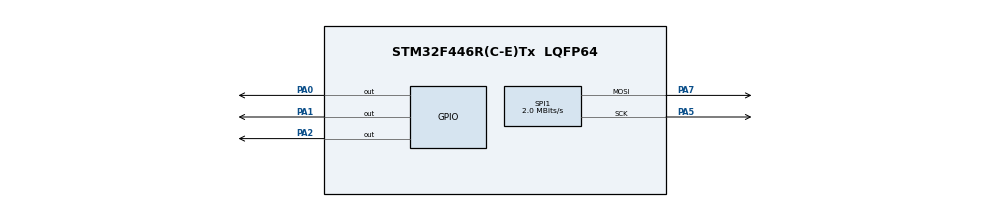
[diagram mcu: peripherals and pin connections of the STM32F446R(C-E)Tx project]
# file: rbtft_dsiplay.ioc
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Mcu.Family=STM32F4
Mcu.Name=STM32F446R(C-E)Tx
Mcu.Package=LQFP64
NVIC.PriorityGroup=NVIC_PRIORITYGROUP_4
PA0-WKUP.GPIO_PuPd=GPIO_PULLUP
PA0-WKUP.Signal=GPIO_Output
PA1.GPIO_PuPd=GPIO_PULLUP
PA1.Signal=GPIO_Output
PA2.GPIO_PuPd=GPIO_PULLUP
PA2.Signal=GPIO_Output
PA5.Mode=TX_Only_Simplex_Unidirect_Master
PA5.Signal=SPI1_SCK
PA7.Mode=TX_Only_Simplex_Unidirect_Master
PA7.Signal=SPI1_MOSI
ProjectManager.HeapSize=0x200
ProjectManager.StackSize=0x400
ProjectManager.TargetToolchain=STM32CubeIDE
RCC.CortexFreq_Value=16000000
RCC.USBFreq_Value=96000000
RCC.VCOOutputFreq_Value=192000000
SPI1.BaudRatePrescaler=SPI_BAUDRATEPRESCALER_8
SPI1.CalculateBaudRate=2.0 MBits/s
SPI1.Direction=SPI_DIRECTION_2LINES
SPI1.Mode=SPI_MODE_MASTER
SPI1.VirtualType=VM_MASTER
board=custom

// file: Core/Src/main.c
/* USER CODE BEGIN Header */
/**
  ******************************************************************************
  * @file           : main.c
  * @brief          : Main program body
  ******************************************************************************
  * @attention
  *
  * Copyright (c) 2025 STMicroelectronics.
  * All rights reserved.
  *
  * This software is licensed under terms that can be found in the LICENSE file
  * in the root directory of this software component.
  * If no LICENSE file comes with this software, it is provided AS-IS.
  *
  ******************************************************************************
  */
/* USER CODE END Header */
#include "main.h"

/* USER CODE BEGIN Includes */
#include "st7735.h"
/* USER CODE END Includes */

/* USER CODE BEGIN PM */
#define width 132
#define height 162
/* USER CODE END PM */

SPI_HandleTypeDef hspi1;

void SystemClock_Config(void);
static void MX_GPIO_Init(void);
static void MX_SPI1_Init(void);

/* USER CODE BEGIN 0 */
void define_window(SPI_HandleTypeDef *hspi) {
	send_command(hspi, 0x2A); //column address set CASET
	send_data(hspi, 0x00);
	send_data(hspi, 0x00);
	send_data(hspi, 0x81);
	send_data(hspi, 0x81);

	send_command(hspi, 0x2B); //row address set RASET
	send_data(hspi, 0x00);
	send_data(hspi, 0x00);
	send_data(hspi, 0xA0);
	send_data(hspi, 0xA0);
}

void display(SPI_HandleTypeDef *hspi) {
	uint16_t color = 0xF800;
	send_command(hspi, 0x2C); //RAMWR

	for (int h = 0; h < height; h++) {
		for (int w = 0; w < width; w++) { // RGB 5-6-5
			send_data(hspi, (color >> 8) & 0xFF); // RED5 GREEN3
			send_data(hspi, color & 0xFF); // GREEN3 BLUE5
		}
	}
}
/* USER CODE END 0 */

int main(void)
{

  /* MCU Configuration--------------------------------------------------------*/

  /* Reset of all peripherals, Initializes the Flash interface and the Systick. */
  HAL_Init();

  /* Configure the system clock */
  SystemClock_Config();

  /* Initialize all configured peripherals */
  MX_GPIO_Init();
  MX_SPI1_Init();
  /* USER CODE BEGIN 2 */
  //reset_display();
  init_display(&hspi1);
  define_window(&hspi1);
  display(&hspi1);

  /* USER CODE END 2 */

  /* Infinite loop */
  while (1)
  {

  }
}

void SystemClock_Config(void)
{
  RCC_OscInitTypeDef RCC_OscInitStruct = {0};
  RCC_ClkInitTypeDef RCC_ClkInitStruct = {0};

  /** Configure the main internal regulator output voltage
  */
  __HAL_RCC_PWR_CLK_ENABLE();
  __HAL_PWR_VOLTAGESCALING_CONFIG(PWR_REGULATOR_VOLTAGE_SCALE3);

  /** Initializes the RCC Oscillators according to the specified parameters
  * in the RCC_OscInitTypeDef structure.
  */
  RCC_OscInitStruct.OscillatorType = RCC_OSCILLATORTYPE_HSI;
  RCC_OscInitStruct.HSIState = RCC_HSI_ON;
  RCC_OscInitStruct.HSICalibrationValue = RCC_HSICALIBRATION_DEFAULT;
  RCC_OscInitStruct.PLL.PLLState = RCC_PLL_NONE;
  if (HAL_RCC_OscConfig(&RCC_OscInitStruct) != HAL_OK)
  {
    Error_Handler();
  }

  /** Initializes the CPU, AHB and APB buses clocks
  */
  RCC_ClkInitStruct.ClockType = RCC_CLOCKTYPE_HCLK|RCC_CLOCKTYPE_SYSCLK
                              |RCC_CLOCKTYPE_PCLK1|RCC_CLOCKTYPE_PCLK2;
  RCC_ClkInitStruct.SYSCLKSource = RCC_SYSCLKSOURCE_HSI;
  RCC_ClkInitStruct.AHBCLKDivider = RCC_SYSCLK_DIV1;
  RCC_ClkInitStruct.APB1CLKDivider = RCC_HCLK_DIV1;
  RCC_ClkInitStruct.APB2CLKDivider = RCC_HCLK_DIV1;

  if (HAL_RCC_ClockConfig(&RCC_ClkInitStruct, FLASH_LATENCY_0) != HAL_OK)
  {
    Error_Handler();
  }
}

static void MX_SPI1_Init(void)
{

  /* SPI1 parameter configuration*/
  hspi1.Instance = SPI1;
  hspi1.Init.Mode = SPI_MODE_MASTER;
  hspi1.Init.Direction = SPI_DIRECTION_2LINES;
  hspi1.Init.DataSize = SPI_DATASIZE_8BIT;
  hspi1.Init.CLKPolarity = SPI_POLARITY_LOW;
  hspi1.Init.CLKPhase = SPI_PHASE_1EDGE;
  hspi1.Init.NSS = SPI_NSS_SOFT;
  hspi1.Init.BaudRatePrescaler = SPI_BAUDRATEPRESCALER_8;
  hspi1.Init.FirstBit = SPI_FIRSTBIT_MSB;
  hspi1.Init.TIMode = SPI_TIMODE_DISABLE;
  hspi1.Init.CRCCalculation = SPI_CRCCALCULATION_DISABLE;
  hspi1.Init.CRCPolynomial = 10;
  if (HAL_SPI_Init(&hspi1) != HAL_OK)
  {
    Error_Handler();
  }

}

static void MX_GPIO_Init(void)
{
  GPIO_InitTypeDef GPIO_InitStruct = {0};

  /* GPIO Ports Clock Enable */
  __HAL_RCC_GPIOA_CLK_ENABLE();

  /*Configure GPIO pin Output Level */
  HAL_GPIO_WritePin(GPIOA, GPIO_PIN_0|GPIO_PIN_1|GPIO_PIN_2, GPIO_PIN_RESET);

  /*Configure GPIO pins : PA0 PA1 PA2 */
  GPIO_InitStruct.Pin = GPIO_PIN_0|GPIO_PIN_1|GPIO_PIN_2;
  GPIO_InitStruct.Mode = GPIO_MODE_OUTPUT_PP;
  GPIO_InitStruct.Pull = GPIO_PULLUP;
  GPIO_InitStruct.Speed = GPIO_SPEED_FREQ_LOW;
  HAL_GPIO_Init(GPIOA, &GPIO_InitStruct);

}

void Error_Handler(void)
{
  __disable_irq();
  while (1)
  {
  }
}
